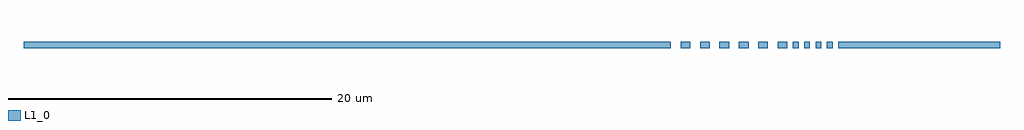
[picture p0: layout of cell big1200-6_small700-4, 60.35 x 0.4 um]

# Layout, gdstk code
import gdstk
lib = gdstk.Library(unit=1e-6, precision=1e-09)
def R(c, l, rs):  # rectangles x0, y0, x1, y1
    for r in rs: c.add(gdstk.rectangle(r[:2], r[2:], *l))
def A(c, l, x, y, w, h, nx, ny, dx, dy):  # array of equal rectangles
    R(c, l, [(x+i*dx, y+j*dy, x+i*dx+w, y+j*dy+h) for i in range(nx) for j in range(ny)])
L1_0 = (1, 0)

big1200_6_small700_4 = lib.new_cell('big1200-6_small700-4')
A(big1200_6_small700_4, L1_0, 0.6, 0, 0.6, 0.4, 6, 1, 1.2, 0)
A(big1200_6_small700_4, L1_0, 7.55, 0, 0.35, 0.4, 4, 1, 0.7, 0)
R(big1200_6_small700_4, L1_0, [(-40,0,0,0.4), (10.35,0,20.35,0.4)])

lib.write_gds('big1200-6_small700-4.gds')
